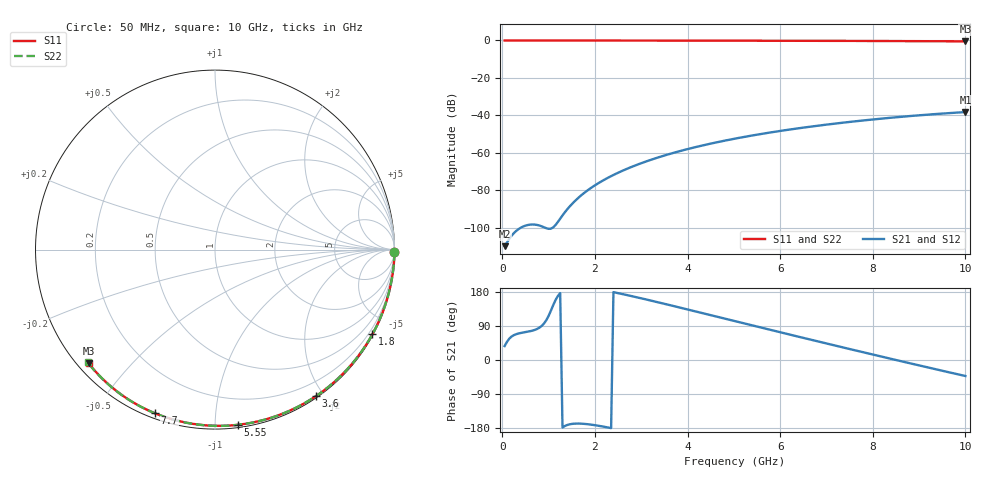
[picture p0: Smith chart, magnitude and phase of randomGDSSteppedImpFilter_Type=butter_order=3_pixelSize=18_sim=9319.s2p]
! freq	dB(S11)	phase(S11)	dB(S12)	phase(S12)
!  dB(S21)	phase(S21)	dB(S22)	phase(S22)
!S-par simulation data
#  GHz  S  DB  R 50
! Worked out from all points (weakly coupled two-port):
!   200 points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, 50 MHz to 10 GHz, reference 50 ohm
!   highest |S21| = -38.20 dB at 10 GHz (marker M1); lowest = -109.8 dB at 50 MHz (marker M2)
!   lowest |S11| = -0.5 dB at 10 GHz (marker M3), VSWR 36.82, Z = 1.56 - j19.2 ohm
!   |S11| at or under -10 dB: nowhere
!   |S22| runs from -0.5 to 0.0 dB; largest |S21 - S12| = 0
!   S11 on the Smith chart (normalised r, x): 50 MHz: open; 1.8 GHz: 0.03, -3.96; 3.6 GHz: 0.02, -1.91; 5.55 GHz: 0.02, -1.14; 7.7 GHz: 0.02, -0.70; 10 GHz: 0.03, -0.38
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0.05  -0.00 -0.8  -109.76 36.8  -109.76 36.8  -0.00 -0.8
0.45  -0.01 -7.2  -99.27 72.6  -99.27 72.6  -0.01 -7.2
0.9  -0.02 -14.3  -99.66 96.2  -99.66 96.2  -0.02 -14.3
1.75  -0.04 -27.5  -81.70 -168.3  -81.70 -168.3  -0.04 -27.6
1.8  -0.04 -28.3  -80.74 -168.9  -80.74 -168.9  -0.04 -28.4
1.85  -0.04 -29.1  -79.82 -169.5  -79.82 -169.5  -0.04 -29.2
2  -0.04 -31.4  -77.30 -172.0  -77.30 -172.0  -0.04 -31.5
2.15  -0.04 -33.7  -75.05 -175.1  -75.05 -175.1  -0.04 -33.8
2.35  -0.05 -36.7  -72.38 -179.7  -72.38 -179.7  -0.05 -36.8
2.55  -0.05 -39.8  -70.01 175.2  -70.01 175.2  -0.05 -39.9
2.95  -0.06 -45.8  -65.94 164.2  -65.94 164.2  -0.06 -45.9
3.4  -0.07 -52.4  -62.14 151.2  -62.14 151.2  -0.07 -52.5
3.6  -0.07 -55.3  -60.65 145.4  -60.65 145.4  -0.07 -55.5
4.3  -0.09 -65.3  -56.15 124.4  -56.15 124.4  -0.09 -65.5
5.05  -0.12 -75.8  -52.26 101.8  -52.26 101.8  -0.12 -76.0
5.55  -0.14 -82.5  -50.05 86.7  -50.05 86.7  -0.14 -82.8
6.1  -0.16 -89.8  -47.91 70.3  -47.91 70.3  -0.16 -90.1
6.7  -0.19 -97.6  -45.85 52.4  -45.85 52.4  -0.19 -97.9
7.7  -0.25 -110.2  -42.93 23.1  -42.93 23.1  -0.25 -110.5
8.35  -0.30 -118.1  -41.32 4.3  -41.32 4.3  -0.30 -118.5
9.2  -0.38 -128.4  -39.55 -19.9  -39.55 -19.9  -0.38 -128.8
10  -0.47 -138.0  -38.20 -42.2  -38.20 -42.2  -0.47 -138.5
